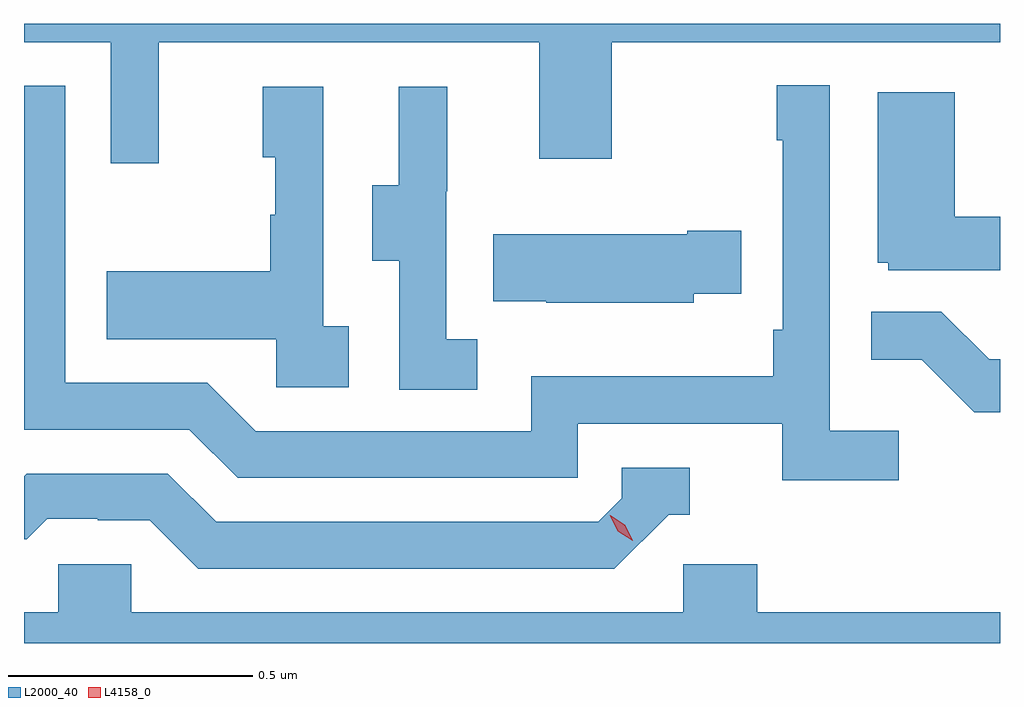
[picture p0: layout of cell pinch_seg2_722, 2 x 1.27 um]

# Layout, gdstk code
import gdstk
lib = gdstk.Library(unit=1e-6, precision=1e-09)
def P(c, l, *ps):  # polygons
    for p in ps: c.add(gdstk.Polygon(p, *l))
L2000_40 = (2000, 40)
L4158_0 = (4158, 0)

pinch_seg2_722 = lib.new_cell('pinch_seg2_722')
P(pinch_seg2_722, L2000_40, [(1130.015,585.032),(1130.795,585.032),(1130.795,584.793),(1130.943,584.793),(1130.943,585.032),(1131.739,585.032),(1131.739,585.07),(1129.739,585.07),(1129.739,585.032),(1129.917,585.032),(1129.917,584.784),(1130.015,584.784)],
  [(1131.532,584.236),(1131.39,584.236),(1131.39,584.944),(1131.282,584.944),(1131.282,584.831),(1131.294,584.831),(1131.294,584.443),(1131.274,584.443),(1131.274,584.347),(1130.778,584.347),(1130.778,584.235),(1130.214,584.235),(1130.115,584.334),(1129.824,584.334),(1129.824,584.943),(1129.739,584.943),(1129.739,584.238),(1130.078,584.238),(1130.177,584.139),(1130.874,584.139),(1130.874,584.25),(1131.293,584.25),(1131.293,584.134),(1131.532,584.134)],
  [(1130.668,584.423),(1130.604,584.423),(1130.604,584.727),(1130.606,584.727),(1130.606,584.941),(1130.507,584.941),(1130.507,584.739),(1130.453,584.739),(1130.453,584.584),(1130.508,584.584),(1130.508,584.32),(1130.668,584.32)],
  [(1130.404,584.45),(1130.352,584.45),(1130.352,584.941),(1130.228,584.941),(1130.228,584.796),(1130.254,584.796),(1130.254,584.678),(1130.244,584.678),(1130.244,584.563),(1129.909,584.563),(1129.909,584.423),(1130.256,584.423),(1130.256,584.325),(1130.404,584.325)],
  [(1131.739,584.674),(1131.646,584.674),(1131.646,584.929),(1131.488,584.929),(1131.488,584.58),(1131.51,584.58),(1131.51,584.565),(1131.739,584.565)],
  [(1131.111,584.516),(1131.209,584.516),(1131.209,584.646),(1131.098,584.646),(1131.098,584.638),(1130.701,584.638),(1130.701,584.501),(1130.809,584.501),(1130.809,584.498),(1131.111,584.498)],
  [(1131.739,584.382),(1131.717,584.382),(1131.619,584.48),(1131.475,584.48),(1131.475,584.381),(1131.579,584.381),(1131.686,584.274),(1131.739,584.274)],
  [(1131.06,584.064),(1131.103,584.064),(1131.103,584.16),(1130.964,584.16),(1130.964,584.097),(1130.916,584.049),(1130.133,584.049),(1130.034,584.148),(1129.745,584.148),(1129.739,584.142),(1129.739,584.013),(1129.745,584.013),(1129.787,584.055),(1129.89,584.055),(1129.89,584.052),(1129.997,584.052),(1130.096,583.953),(1130.949,583.953)],
  [(1131.739,583.864),(1131.242,583.864),(1131.242,583.962),(1131.09,583.962),(1131.09,583.864),(1129.959,583.864),(1129.959,583.962),(1129.809,583.962),(1129.809,583.864),(1129.739,583.864),(1129.739,583.8),(1131.739,583.8)])
P(pinch_seg2_722, L4158_0, [(1130.986,584.01),(1130.956,584.03),(1130.939,584.063),(1130.939,584.063),(1130.94,584.063),(1130.97,584.043),(1130.986,584.011),(1130.986,584.01)])

lib.write_gds('pinch_seg2_722.gds')
